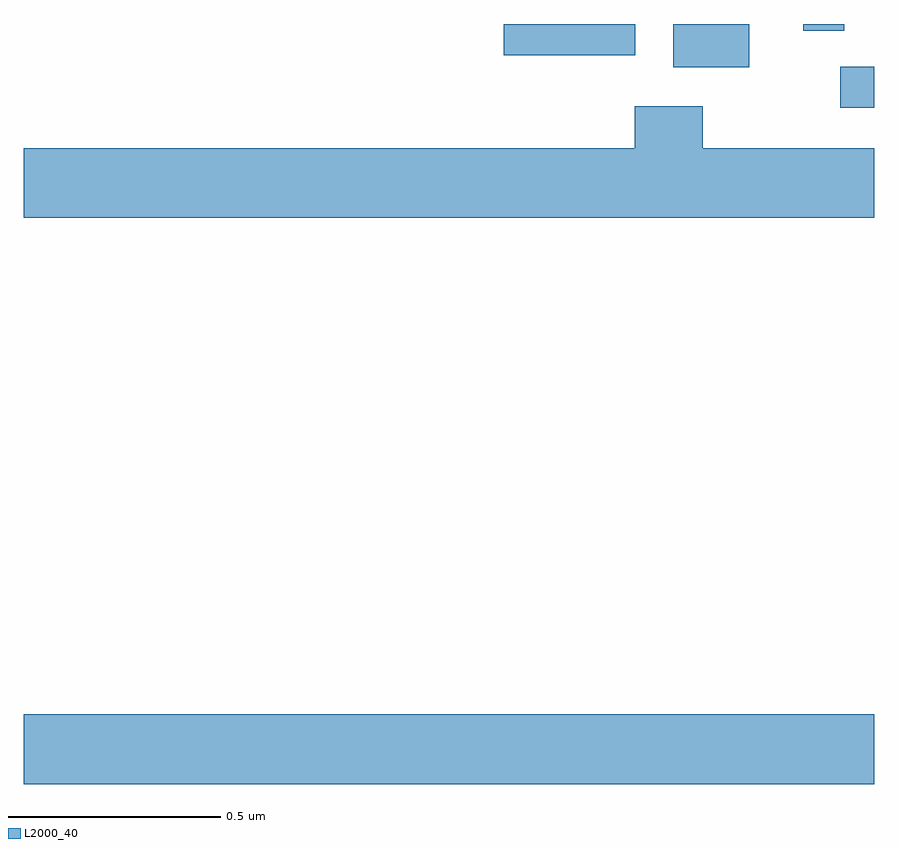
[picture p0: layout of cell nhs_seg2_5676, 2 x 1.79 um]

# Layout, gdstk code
import gdstk
lib = gdstk.Library(unit=1e-6, precision=1e-09)
def R(c, l, rs):  # rectangles x0, y0, x1, y1
    for r in rs: c.add(gdstk.rectangle(r[:2], r[2:], *l))
def P(c, l, *ps):  # polygons
    for p in ps: c.add(gdstk.Polygon(p, *l))
L2000_40 = (2000, 40)

nhs_seg2_5676 = lib.new_cell('nhs_seg2_5676')
R(nhs_seg2_5676, L2000_40, [(182,605.012,184,605.176), (183.921,606.603,184,606.699), (183.527,606.698,183.706,606.8), (183.129,606.727,183.438,606.8), (183.834,606.784,183.93,606.8)])
P(nhs_seg2_5676, L2000_40, [(184,606.508),(183.597,606.508),(183.597,606.607),(183.437,606.607),(183.437,606.508),(182,606.508),(182,606.344),(184,606.344)])

lib.write_gds('nhs_seg2_5676.gds')
